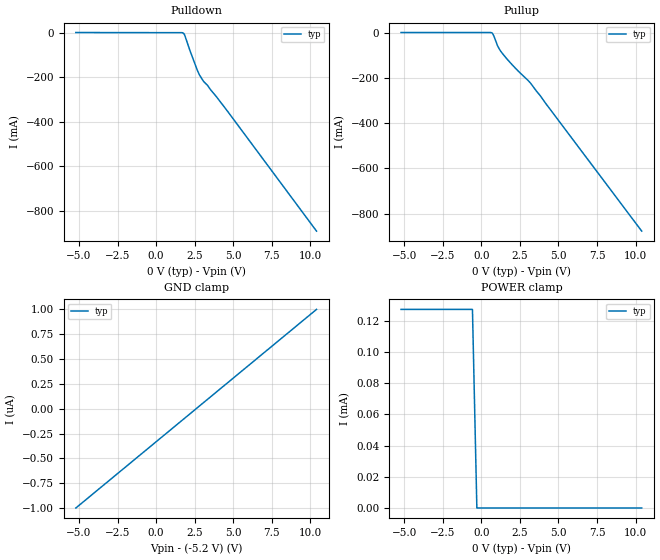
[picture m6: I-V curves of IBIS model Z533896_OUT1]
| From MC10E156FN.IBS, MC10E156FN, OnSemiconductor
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| (C) COPYRIGHT 1993-2000
| MENTOR GRAPHICS CORPORATION
| ICX STANDARD LIBRARY, ICX PROJECT MODELING,
| ICX CUSTOM MODELING, ICX VENDOR MODEL
| ALL RIGHTS RESERVED.
| THE FOLLOWING ARE TRADEMARKS OR SERVICE MARKS OF
| MENTOR GRAPHICS CORPORATION:ICX (R), ICX STANDARD
| LIBRARY(R), ICX PROJECT MODELING(R), ICX CUSTOM
| MODELING(R), qualityIBIS(TM), MODELVIEWER(TM),
| AND MODELEDITOR(TM)
| ALL COPIES OF SOFTWARE, INCLUDING BUT NOT LIMITED TO
| ANY MODIFICATIONS, ENHANCEMENTS OR DERIVATIVE WORKS,
| MUST CONTAIN ALL MENTOR GRAPHICS CORPORATION'S
| NOTICES AND LEGENDS, INCLUDING THOSE EMBEDDED IN
| SOFTWARE AND THOSE AFFIXED TO SOFTWARE MEDIUM
| AND CONTAINER, AS RECEIVED FROM MENTOR GRAPHICS
| CORPORATION.
| Model Application Version 1.89 2/18/99.
[Model] Z533896_OUT1
Model_type Output_ECL
Vref=-2.000V
Rref=50.00ohms
Cref=0.000F
Vmeas=-1.305V
C_comp 8.000pF NA NA
| variable typ   min   max
[Voltage Range] -5.200V NA NA
[POWER Clamp Reference] 0.000V NA NA
[Pullup Reference] 0.000V NA NA
[Pulldown Reference] 0.000V NA NA
[GND Clamp Reference] -5.200V NA NA
[GND Clamp]
-5.2V     -1uA       NA         NA
10.4V     1uA        NA         NA
[Pulldown]
-5.2V     614.1uA    NA         NA
1.605V    40.45uA    NA         NA
1.782V    -2.927mA   NA         NA
1.883V    -16.65mA   NA         NA
2.193V    -80.2mA    NA         NA
2.676V    -169.7mA   NA         NA
2.812V    -190.3mA   NA         NA
3.063V    -217.7mA   NA         NA
3.34V     -237.4mA   NA         NA
4.648V    -355mA     NA         NA
10.4V     -892.7mA   NA         NA
[Pullup]
-5.2V     -44.88uA   NA         NA
547mV     -44.88uA   NA         NA
724.3mV   -3.468mA   NA         NA
810.5mV   -14.5mA    NA         NA
1.059V    -58.92mA   NA         NA
1.309V    -87.16mA   NA         NA
2.023V    -143.9mA   NA         NA
3.177V    -222mA     NA         NA
10.4V     -876.3mA   NA         NA
[POWER Clamp]
-5.2V     127.4uA    NA         NA
-571.3mV  127.4uA    NA         NA
-285.7mV  0A         NA         NA
10.4V     0A         NA         NA
[Ramp]
| variable typ min max
dV/dt_r 607.6m/351.4p NA NA
dV/dt_f 607.6m/328.8p NA NA
R_load = 500.0Ohms
